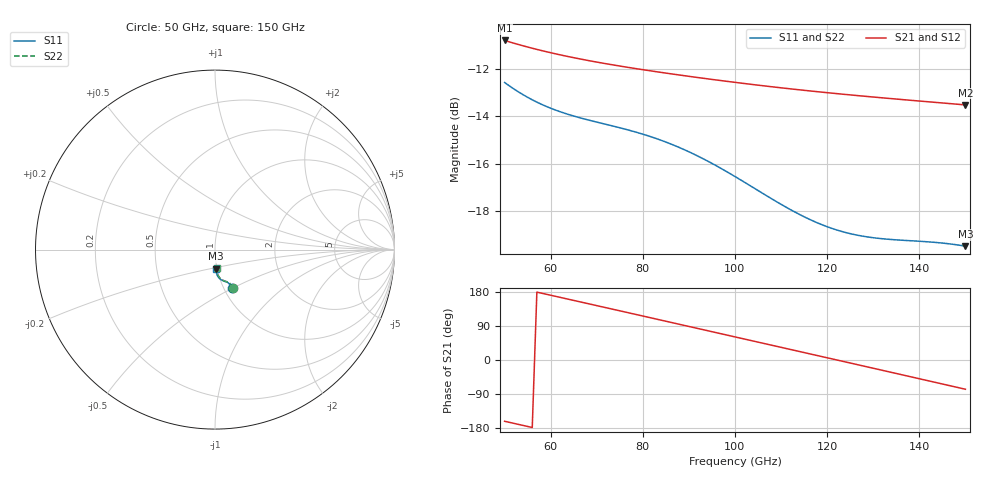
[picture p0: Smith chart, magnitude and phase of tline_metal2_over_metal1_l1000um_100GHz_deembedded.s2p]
! Created with skrf 2.0.1 (http://scikit-rf.org).
# GHz S DB R 50.0
!freq dBS11 angS11 dBS21 angS21 dBS12 angS12 dBS22 angS22
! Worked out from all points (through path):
!   101 points, 50 GHz to 150 GHz, reference 50 ohm
!   highest |S21| = -10.78 dB at 50 GHz (marker M1); lowest = -13.5 dB at 150 GHz (marker M2)
!   group delay of S21, straight-line fit = 7.65 ps
!   lowest |S11| = -19.5 dB at 150 GHz (marker M3), VSWR 1.24, Z = 49.5 - j10.6 ohm
!   |S11| at or under -10 dB: start of sweep to end of sweep
!   |S22| runs from -19.6 to -12.6 dB; largest |S21 - S12| = 2.7e-13
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50  -12.56 -66.5  -10.78 -161.7  -10.78 -161.7  -12.58 -65.2
54  -13.08 -66.9  -11.01 -172.7  -11.01 -172.7  -13.08 -65.5
58  -13.49 -67.2  -11.21 176.4  -11.21 176.4  -13.47 -65.8
62  -13.80 -67.6  -11.39 165.4  -11.39 165.4  -13.78 -66.2
67  -14.09 -68.6  -11.59 151.7  -11.59 151.7  -14.06 -67.3
72  -14.33 -70.3  -11.77 138.0  -11.77 138.0  -14.31 -69.0
76  -14.53 -72.0  -11.90 127.1  -11.90 127.1  -14.51 -70.7
80  -14.75 -74.0  -12.02 116.1  -12.02 116.1  -14.74 -72.7
84  -15.01 -76.2  -12.14 105.0  -12.14 105.0  -15.01 -74.9
88  -15.32 -78.4  -12.25 94.0  -12.25 94.0  -15.34 -77.2
92  -15.68 -80.6  -12.35 83.0  -12.35 83.0  -15.71 -79.3
96  -16.09 -82.5  -12.46 72.0  -12.46 72.0  -16.14 -81.2
100  -16.54 -84.1  -12.56 60.9  -12.56 60.9  -16.60 -82.8
105  -17.14 -85.5  -12.68 47.2  -12.68 47.2  -17.21 -84.1
109  -17.61 -86.1  -12.77 36.2  -12.77 36.2  -17.69 -84.5
117  -18.43 -85.7  -12.93 14.1  -12.93 14.1  -18.51 -84.0
121  -18.74 -85.1  -13.01 3.1  -13.01 3.1  -18.81 -83.3
125  -18.96 -84.4  -13.09 -7.9  -13.09 -7.9  -19.02 -82.6
129  -19.11 -83.8  -13.16 -19.0  -13.16 -19.0  -19.16 -82.1
134  -19.21 -83.5  -13.25 -32.8  -13.25 -32.8  -19.25 -81.9
142  -19.31 -84.3  -13.38 -55.0  -13.38 -55.0  -19.35 -83.0
150  -19.49 -86.4  -13.51 -77.2  -13.51 -77.2  -19.55 -85.3
